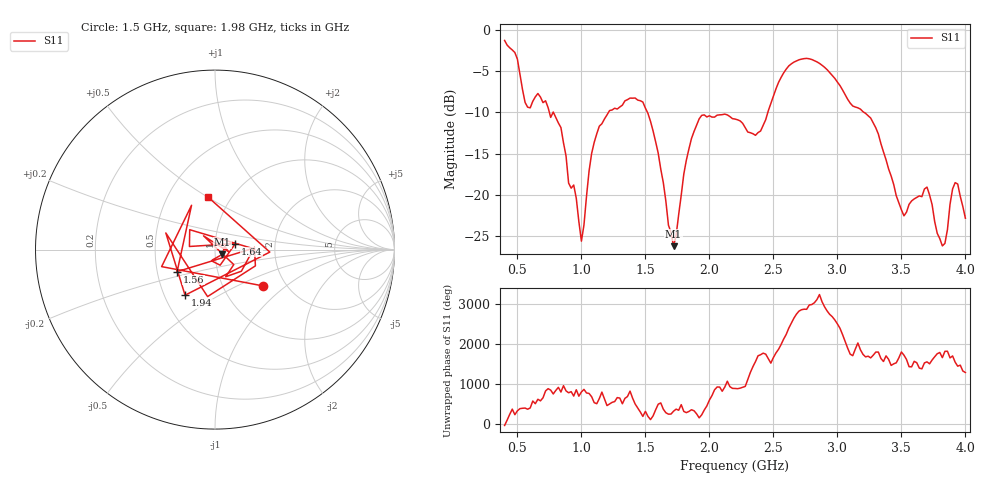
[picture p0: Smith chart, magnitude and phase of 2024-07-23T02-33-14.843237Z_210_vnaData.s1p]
!Created with skrf (http://scikit-rf.org).
# Hz S RI R 50.0
!freq ReS11 ImS11
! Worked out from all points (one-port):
!   181 points, 400 MHz to 4 GHz, reference 50 ohm
!   lowest |S11| = -26.2 dB at 1.72 GHz (marker M1), VSWR 1.10, Z = 54.2 - j2.87 ohm
!   |S11| at or under -10 dB: 781.7 MHz to 1.211 GHz (429.4 MHz wide, 43.1 % of centre); 1.516 GHz to 2.456 GHz (939.8 MHz wide, 47.3 % of centre); 3.209 GHz to end of sweep (the widest 3 of 4)
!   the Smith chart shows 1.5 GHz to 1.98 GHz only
!   S11 on the Smith chart (normalised r, x): 1.5 GHz: 1.54, -0.70; 1.56 GHz: 0.63, -0.17; 1.64 GHz: 1.25, +0.09; 1.94 GHz: 0.64, -0.36; 1.98 GHz: 0.78, +0.50
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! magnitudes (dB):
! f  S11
! 400 MHz  -1.3
! 500 MHz  -3.5
! 580 MHz  -9.4
! 720 MHz  -8.6
! 860 MHz  -13.7
! 1 GHz  -25.6
! 1.1 GHz  -13.6
! 1.3 GHz  -9.3
! 1.5 GHz  -9.5
! 1.56 GHz  -12.2
! 1.64 GHz  -18.5
! 1.72 GHz  -26.2
! 1.76 GHz  -22.4
! 1.84 GHz  -14.4
! 1.94 GHz  -10.3
! 1.98 GHz  -10.5
! 2.2 GHz  -10.8
! 2.4 GHz  -12.2
! 2.66 GHz  -3.9
! 2.86 GHz  -4.0
! 3.1 GHz  -8.9
! 3.3 GHz  -11.9
! 3.52 GHz  -22.5
! 3.56 GHz  -21.1
! 3.7 GHz  -19.0
! 3.82 GHz  -26.2
! 3.92 GHz  -18.5
! 4 GHz  -22.8
